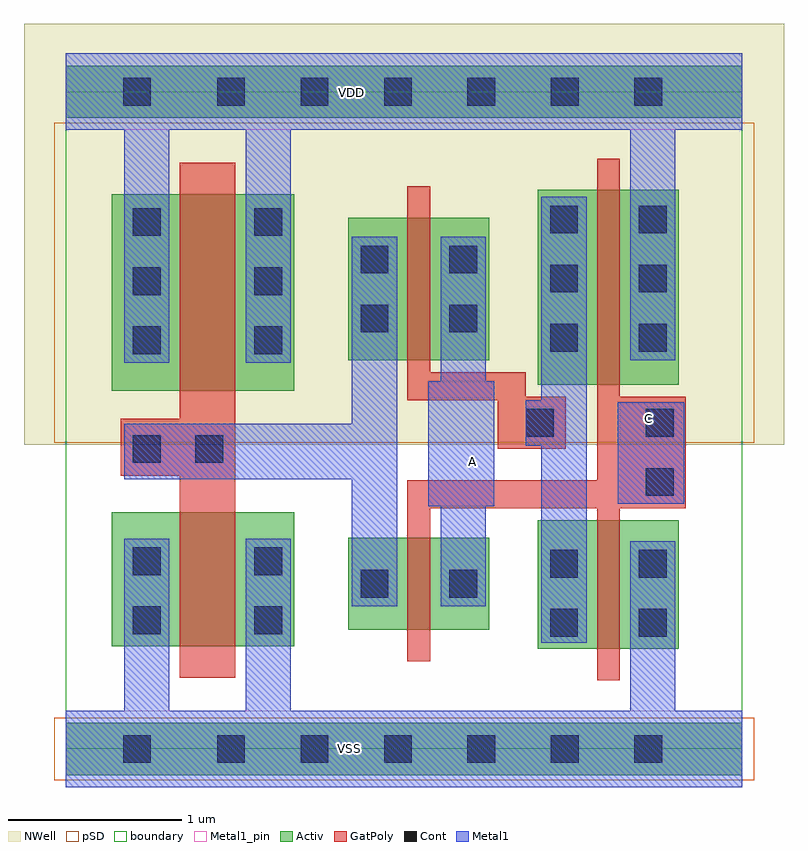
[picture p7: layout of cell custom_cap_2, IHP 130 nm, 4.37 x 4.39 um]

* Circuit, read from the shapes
.subckt custom_cap_2 A C VDD VSS
XM1 VSS n1 VSS VSS sg13_lv_nmos w=0.77u l=0.32u
XM2 A C n1 VSS sg13_lv_nmos w=0.53u l=0.13u
XM3 VSS C n2 VSS sg13_lv_nmos w=0.74u l=0.13u
XM4 VDD n1 VDD VDD sg13_lv_pmos w=1.13u l=0.32u
XM5 A n2 n1 VDD sg13_lv_pmos w=0.82u l=0.13u
XM6 VDD C n2 VDD sg13_lv_pmos w=1.12u l=0.13u
.ends

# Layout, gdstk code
import gdstk
lib = gdstk.Library(unit=1e-6, precision=1e-09)
def R(c, l, rs):  # rectangles x0, y0, x1, y1
    for r in rs: c.add(gdstk.rectangle(r[:2], r[2:], *l))
def A(c, l, x, y, w, h, nx, ny, dx, dy):  # array of equal rectangles
    R(c, l, [(x+i*dx, y+j*dy, x+i*dx+w, y+j*dy+h) for i in range(nx) for j in range(ny)])
def P(c, l, *ps):  # polygons
    for p in ps: c.add(gdstk.Polygon(p, *l))
Activ = (1, 0)
GatPoly = (5, 0)
Cont = (6, 0)
Metal1 = (8, 0)
Metal1_pin = (8, 2)
pSD = (14, 0)
NWell = (31, 0)
boundary = (189, 4)

custom_cap_2 = lib.new_cell('custom_cap_2')
R(custom_cap_2, Activ, [(0,-0.15,3.89,0.15), (2.715,0.575,3.525,1.315), (0.265,0.59,1.315,1.36), (1.625,0.685,2.435,1.215), (0.265,2.06,1.315,3.19), (2.715,2.095,3.525,3.215), (1.625,2.235,2.435,3.055), (0,3.63,3.89,3.93)])
P(custom_cap_2, GatPoly, [(0.655,0.41),(0.655,1.57),(0.315,1.57),(0.315,1.9),(0.655,1.9),(0.655,3.37),(0.975,3.37),(0.975,0.41)],
  [(2.485,1.725),(2.485,2.005),(1.965,2.005),(1.965,3.235),(2.095,3.235),(2.095,2.165),(2.645,2.165),(2.645,2.025),(2.875,2.025),(2.875,1.725)],
  [(3.055,0.395),(3.055,1.385),(2.095,1.385),(2.095,0.505),(1.965,0.505),(1.965,1.545),(3.055,1.545),(3.055,3.395),(3.185,3.395),(3.185,2.025),(3.565,2.025),(3.565,1.385),(3.185,1.385),(3.185,0.395)])
A(custom_cap_2, Cont, 0.385, 2.27, 0.16, 0.16, 1, 3, 0, 0.34)
A(custom_cap_2, Cont, 1.085, 2.27, 0.16, 0.16, 1, 3, 0, 0.34)
A(custom_cap_2, Cont, 2.785, 2.285, 0.16, 0.16, 1, 3, 0, 0.34)
A(custom_cap_2, Cont, 3.295, 2.285, 0.16, 0.16, 1, 3, 0, 0.34)
R(custom_cap_2, Cont, [(0.33,-0.08,0.49,0.08), (0.33,-0.08,0.49,0.08), (0.87,-0.08,1.03,0.08), (0.87,-0.08,1.03,0.08), (1.35,-0.08,1.51,0.08), (1.35,-0.08,1.51,0.08), (1.83,-0.08,1.99,0.08), (1.83,-0.08,1.99,0.08), (2.31,-0.08,2.47,0.08), (2.31,-0.08,2.47,0.08), (2.79,-0.08,2.95,0.08), (2.79,-0.08,2.95,0.08), (3.27,-0.08,3.43,0.08), (3.27,-0.08,3.43,0.08), (2.785,0.645,2.945,0.805), (3.295,0.645,3.455,0.805), (0.385,0.66,0.545,0.82), (1.085,0.66,1.245,0.82), (1.695,0.87,1.855,1.03), (2.205,0.87,2.365,1.03), (2.785,0.985,2.945,1.145), (3.295,0.985,3.455,1.145), (0.385,1,0.545,1.16), (1.085,1,1.245,1.16), (3.335,1.455,3.495,1.615), (0.385,1.645,0.545,1.805), (0.745,1.645,0.905,1.805), (2.645,1.795,2.805,1.955), (3.335,1.795,3.495,1.955), (1.695,2.395,1.855,2.555), (2.205,2.395,2.365,2.555), (1.695,2.735,1.855,2.895), (2.205,2.735,2.365,2.895), (0.33,3.7,0.49,3.86), (0.33,3.7,0.49,3.86), (0.87,3.7,1.03,3.86), (0.87,3.7,1.03,3.86), (1.35,3.7,1.51,3.86), (1.35,3.7,1.51,3.86), (1.83,3.7,1.99,3.86), (1.83,3.7,1.99,3.86), (2.31,3.7,2.47,3.86), (2.31,3.7,2.47,3.86), (2.79,3.7,2.95,3.86), (2.79,3.7,2.95,3.86), (3.27,3.7,3.43,3.86), (3.27,3.7,3.43,3.86)])
R(custom_cap_2, Metal1, [(3.175,1.41,3.555,1.995)])
P(custom_cap_2, Metal1, [(1.645,0.82),(1.645,1.55),(0.335,1.55),(0.335,1.87),(1.645,1.87),(1.645,2.945),(1.905,2.945),(1.905,0.82)],
  [(0.335,2.22),(0.335,3.56),(0,3.56),(0,4),(3.89,4),(3.89,3.56),(3.505,3.56),(3.505,2.235),(3.245,2.235),(3.245,3.56),(1.295,3.56),(1.295,2.22),(1.035,2.22),(1.035,3.56),(0.595,3.56),(0.595,2.22)],
  [(0,-0.22),(0,0.22),(0.335,0.22),(0.335,1.21),(0.595,1.21),(0.595,0.22),(1.035,0.22),(1.035,1.21),(1.295,1.21),(1.295,0.22),(3.245,0.22),(3.245,1.195),(3.505,1.195),(3.505,0.22),(3.89,0.22),(3.89,-0.22)],
  [(2.155,0.82),(2.155,1.395),(2.085,1.395),(2.085,2.115),(2.155,2.115),(2.155,2.945),(2.415,2.945),(2.415,2.115),(2.465,2.115),(2.465,1.395),(2.415,1.395),(2.415,0.82)],
  [(2.735,0.61),(2.735,1.745),(2.645,1.745),(2.645,2.005),(2.735,2.005),(2.735,3.175),(2.995,3.175),(2.995,0.61)])
R(custom_cap_2, Metal1_pin, [(0,-0.22,3.89,0.22), (2.085,1.395,2.465,2.115), (3.175,1.41,3.555,1.995), (0,3.56,3.89,4)])
R(custom_cap_2, pSD, [(-0.065,-0.18,3.96,0.18), (-0.065,1.76,3.96,3.6)])
R(custom_cap_2, NWell, [(-0.24,1.75,4.13,4.17)])
R(custom_cap_2, boundary, [(0,0,3.89,3.78)])
custom_cap_2.add(gdstk.Label('C', (3.35,1.9), layer=8, texttype=25))
custom_cap_2.add(gdstk.Label('A', (2.34,1.655), layer=8, texttype=25))
custom_cap_2.add(gdstk.Label('VSS', (1.63,0.005), layer=8, texttype=25))
custom_cap_2.add(gdstk.Label('VDD', (1.645,3.775), layer=8, texttype=25))

lib.write_gds('custom_cap_2.gds')
